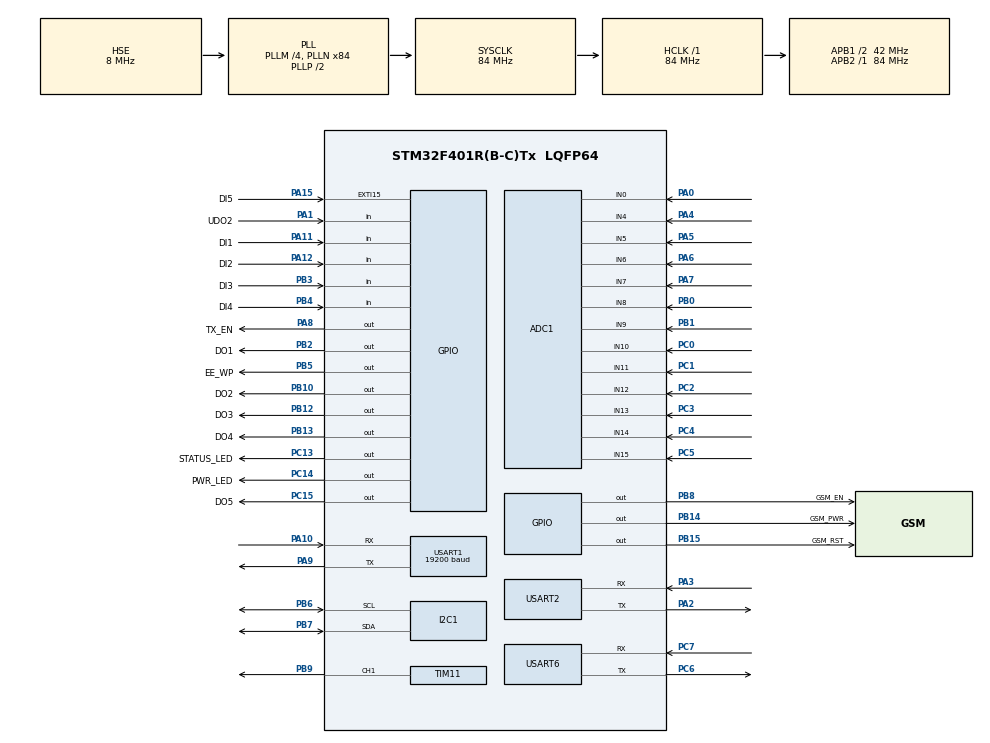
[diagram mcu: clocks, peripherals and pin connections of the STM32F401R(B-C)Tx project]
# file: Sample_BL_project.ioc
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ADC1.Channel-0\#ChannelRegularConversion=ADC_CHANNEL_0
ADC1.Channel-1\#ChannelRegularConversion=ADC_CHANNEL_4
ADC1.Channel-10\#ChannelRegularConversion=ADC_CHANNEL_13
ADC1.Channel-11\#ChannelRegularConversion=ADC_CHANNEL_14
ADC1.Channel-12\#ChannelRegularConversion=ADC_CHANNEL_15
ADC1.Channel-2\#ChannelRegularConversion=ADC_CHANNEL_5
ADC1.Channel-3\#ChannelRegularConversion=ADC_CHANNEL_6
ADC1.Channel-4\#ChannelRegularConversion=ADC_CHANNEL_7
ADC1.Channel-5\#ChannelRegularConversion=ADC_CHANNEL_8
ADC1.Channel-6\#ChannelRegularConversion=ADC_CHANNEL_9
ADC1.Channel-7\#ChannelRegularConversion=ADC_CHANNEL_10
ADC1.Channel-8\#ChannelRegularConversion=ADC_CHANNEL_11
ADC1.Channel-9\#ChannelRegularConversion=ADC_CHANNEL_12
ADC1.ClockPrescaler=ADC_CLOCK_SYNC_PCLK_DIV8
ADC1.ContinuousConvMode=ENABLE
ADC1.DMAContinuousRequests=ENABLE
ADC1.NbrOfConversion=13
ADC1.NbrOfConversionFlag=1
ADC1.Rank-0\#ChannelRegularConversion=1
ADC1.Rank-1\#ChannelRegularConversion=2
ADC1.Rank-10\#ChannelRegularConversion=11
ADC1.Rank-11\#ChannelRegularConversion=12
ADC1.Rank-12\#ChannelRegularConversion=13
ADC1.Rank-2\#ChannelRegularConversion=3
ADC1.Rank-3\#ChannelRegularConversion=4
ADC1.Rank-4\#ChannelRegularConversion=5
ADC1.Rank-5\#ChannelRegularConversion=6
ADC1.Rank-6\#ChannelRegularConversion=7
ADC1.Rank-7\#ChannelRegularConversion=8
ADC1.Rank-8\#ChannelRegularConversion=9
ADC1.Rank-9\#ChannelRegularConversion=10
ADC1.SamplingTime-0\#ChannelRegularConversion=ADC_SAMPLETIME_56CYCLES
ADC1.SamplingTime-1\#ChannelRegularConversion=ADC_SAMPLETIME_56CYCLES
ADC1.SamplingTime-10\#ChannelRegularConversion=ADC_SAMPLETIME_84CYCLES
ADC1.SamplingTime-11\#ChannelRegularConversion=ADC_SAMPLETIME_84CYCLES
ADC1.SamplingTime-12\#ChannelRegularConversion=ADC_SAMPLETIME_84CYCLES
ADC1.SamplingTime-2\#ChannelRegularConversion=ADC_SAMPLETIME_56CYCLES
ADC1.SamplingTime-3\#ChannelRegularConversion=ADC_SAMPLETIME_56CYCLES
ADC1.SamplingTime-4\#ChannelRegularConversion=ADC_SAMPLETIME_84CYCLES
ADC1.SamplingTime-5\#ChannelRegularConversion=ADC_SAMPLETIME_84CYCLES
ADC1.SamplingTime-6\#ChannelRegularConversion=ADC_SAMPLETIME_84CYCLES
ADC1.SamplingTime-7\#ChannelRegularConversion=ADC_SAMPLETIME_84CYCLES
ADC1.SamplingTime-8\#ChannelRegularConversion=ADC_SAMPLETIME_84CYCLES
ADC1.SamplingTime-9\#ChannelRegularConversion=ADC_SAMPLETIME_84CYCLES
ADC1.ScanConvMode=ENABLE
ADC1.master=1
Dma.ADC1.0.Direction=DMA_PERIPH_TO_MEMORY
Dma.ADC1.0.FIFOMode=DMA_FIFOMODE_DISABLE
Dma.ADC1.0.Instance=DMA2_Stream0
Dma.ADC1.0.MemDataAlignment=DMA_MDATAALIGN_HALFWORD
Dma.ADC1.0.MemInc=DMA_MINC_ENABLE
Dma.ADC1.0.Mode=DMA_CIRCULAR
Dma.ADC1.0.PeriphDataAlignment=DMA_PDATAALIGN_HALFWORD
Dma.ADC1.0.PeriphInc=DMA_PINC_DISABLE
Dma.ADC1.0.Priority=DMA_PRIORITY_LOW
Dma.Request0=ADC1
I2C1.I2C_Mode=I2C_Fast
IWDG.Prescaler=IWDG_PRESCALER_64
IWDG.Reload=2500
Mcu.Family=STM32F4
Mcu.Name=STM32F401R(B-C)Tx
Mcu.Package=LQFP64
NVIC.DMA2_Stream0_IRQn=true\:0\:0\:false\:false\:true\:false\:true\:true
NVIC.EXTI15_10_IRQn=true\:0\:0\:false\:false\:true\:true\:true\:true
NVIC.PriorityGroup=NVIC_PRIORITYGROUP_4
NVIC.TIM1_BRK_TIM9_IRQn=true\:0\:0\:false\:false\:true\:true\:true\:true
NVIC.TIM1_UP_TIM10_IRQn=true\:0\:0\:false\:false\:true\:true\:true\:true
NVIC.USART2_IRQn=true\:0\:0\:false\:false\:true\:true\:true\:true
PA0-WKUP.Signal=ADCx_IN0
PA1.GPIO_Label=UDO2
PA1.Signal=GPIO_Input
PA10.Mode=Asynchronous
PA10.Signal=USART1_RX
PA11.GPIO_Label=DI1
PA11.Signal=GPIO_Input
PA12.GPIO_Label=DI2
PA12.Signal=GPIO_Input
PA13.Mode=Serial_Wire
PA13.Signal=SYS_JTMS-SWDIO
PA14.Mode=Serial_Wire
PA14.Signal=SYS_JTCK-SWCLK
PA15.GPIO_Label=DI5
PA15.GPIO_ModeDefaultEXTI=GPIO_MODE_IT_RISING
PA15.GPIO_PuPd=GPIO_PULLUP
PA15.Signal=GPXTI15
PA2.Mode=Asynchronous
PA2.Signal=USART2_TX
PA3.Mode=Asynchronous
PA3.Signal=USART2_RX
PA4.Signal=ADCx_IN4
PA5.Signal=ADCx_IN5
PA6.Signal=ADCx_IN6
PA7.Signal=ADCx_IN7
PA8.GPIO_Label=TX_EN
PA8.Signal=GPIO_Output
PA9.Mode=Asynchronous
PA9.Signal=USART1_TX
PB0.Signal=ADCx_IN8
PB1.Signal=ADCx_IN9
PB10.GPIO_Label=DO2
PB10.Signal=GPIO_Output
PB12.GPIO_Label=DO3
PB12.Signal=GPIO_Output
PB13.GPIO_Label=DO4
PB13.Signal=GPIO_Output
PB14.GPIO_Label=GSM_PWR
PB14.Signal=GPIO_Output
PB15.GPIO_Label=GSM_RST
PB15.Signal=GPIO_Output
PB2.GPIO_Label=DO1
PB2.Signal=GPIO_Output
PB3.GPIO_Label=DI3
PB3.Signal=GPIO_Input
PB4.GPIO_Label=DI4
PB4.Signal=GPIO_Input
PB5.GPIO_Label=EE_WP
PB5.Signal=GPIO_Output
PB6.Mode=I2C
PB6.Signal=I2C1_SCL
PB7.Mode=I2C
PB7.Signal=I2C1_SDA
PB8.GPIO_Label=GSM_EN
PB8.Signal=GPIO_Output
PB9.Signal=S_TIM11_CH1
PC0.Signal=ADCx_IN10
PC1.Signal=ADCx_IN11
PC13-ANTI_TAMP.GPIO_Label=STATUS_LED
PC13-ANTI_TAMP.Signal=GPIO_Output
PC14-OSC32_IN.GPIO_Label=PWR_LED
PC14-OSC32_IN.Signal=GPIO_Output
PC15-OSC32_OUT.GPIO_Label=DO5
PC15-OSC32_OUT.Signal=GPIO_Output
PC2.Signal=ADCx_IN12
PC3.Signal=ADCx_IN13
PC4.Signal=ADCx_IN14
PC5.Signal=ADCx_IN15
PC6.Mode=Asynchronous
PC6.Signal=USART6_TX
PC7.Mode=Asynchronous
PC7.Signal=USART6_RX
PH0\ -\ OSC_IN.Mode=HSE-External-Oscillator
PH0\ -\ OSC_IN.Signal=RCC_OSC_IN
PH1\ -\ OSC_OUT.Mode=HSE-External-Oscillator
PH1\ -\ OSC_OUT.Signal=RCC_OSC_OUT
ProjectManager.HeapSize=0x200
ProjectManager.StackSize=0x400
ProjectManager.TargetToolchain=STM32CubeIDE
RCC.48MHZClocksFreq_Value=42000000
RCC.AHBFreq_Value=84000000
RCC.APB1CLKDivider=RCC_HCLK_DIV2
RCC.APB1Freq_Value=42000000
RCC.APB1TimFreq_Value=84000000
RCC.APB2Freq_Value=84000000
RCC.APB2TimFreq_Value=84000000
RCC.CortexFreq_Value=84000000
RCC.HCLKFreq_Value=84000000
RCC.HSE_VALUE=8000000
RCC.HSI_VALUE=16000000
RCC.LSE_VALUE=32768
RCC.PLLM=4
RCC.PLLN=84
RCC.PLLSourceVirtual=RCC_PLLSOURCE_HSE
RCC.SYSCLKFreq_VALUE=84000000
RCC.SYSCLKSource=RCC_SYSCLKSOURCE_PLLCLK
RCC.VCOOutputFreq_Value=168000000
RTC.Alarm=RTC_ALARM_A
RTC.AlarmMaskDateWeekDay=RTC_ALARMMASK_DATEWEEKDAY
RTC.AlarmMaskHours=RTC_ALARMMASK_HOURS
RTC.AlarmMaskSeconds=RTC_ALARMMASK_SECONDS
RTC.Format=RTC_FORMAT_BIN
SH.ADCx_IN0.0=ADC1_IN0,IN0
SH.ADCx_IN10.0=ADC1_IN10,IN10
SH.ADCx_IN11.0=ADC1_IN11,IN11
SH.ADCx_IN12.0=ADC1_IN12,IN12
SH.ADCx_IN13.0=ADC1_IN13,IN13
SH.ADCx_IN14.0=ADC1_IN14,IN14
SH.ADCx_IN15.0=ADC1_IN15,IN15
SH.ADCx_IN4.0=ADC1_IN4,IN4
SH.ADCx_IN5.0=ADC1_IN5,IN5
SH.ADCx_IN6.0=ADC1_IN6,IN6
SH.ADCx_IN7.0=ADC1_IN7,IN7
SH.ADCx_IN8.0=ADC1_IN8,IN8
SH.ADCx_IN9.0=ADC1_IN9,IN9
SH.S_TIM11_CH1.0=TIM11_CH1,PWM Generation1 CH1
TIM10.Channel=TIM_CHANNEL_1
TIM10.Period=500 - 1
TIM10.Prescaler=84 - 1
TIM11.Channel=TIM_CHANNEL_1
TIM11.Period=4199
TIM9.Channel-Output\ Compare1\ No\ Output=TIM_CHANNEL_1
TIM9.Period=10000 - 1
TIM9.Prescaler=8400 - 1
USART1.BaudRate=19200
USART1.VirtualMode=VM_ASYNC
USART2.VirtualMode=VM_ASYNC
USART6.VirtualMode=VM_ASYNC
VP_IWDG_VS_IWDG.Mode=IWDG_Activate
VP_RTC_VS_RTC_Activate.Mode=RTC_Enabled
VP_RTC_VS_RTC_Alarm_A_Intern.Mode=Alarm A
VP_RTC_VS_RTC_Calendar.Mode=RTC_Calendar
VP_TIM10_VS_ClockSourceINT.Mode=Enable_Timer
VP_TIM10_VS_no_output1.Mode=Output Compare1 No Output
VP_TIM11_VS_ClockSourceINT.Mode=Enable_Timer
VP_TIM9_VS_no_output1.Mode=Output Compare1 No Output
board=custom

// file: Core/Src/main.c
/* USER CODE BEGIN Header */
/**
  ******************************************************************************
  * @file           : main.c
  * @brief          : Main program body
  ******************************************************************************
  * @attention
  *
  * Copyright (c) 2024 STMicroelectronics.
  * All rights reserved.
  *
  * This software is licensed under terms that can be found in the LICENSE file
  * in the root directory of this software component.
  * If no LICENSE file comes with this software, it is provided AS-IS.
  *
  ******************************************************************************
  */
/* USER CODE END Header */
#include "main.h"
#include "adc.h"
#include "dma.h"
#include "i2c.h"
#include "iwdg.h"
#include "rtc.h"
#include "tim.h"
#include "usart.h"
#include "gpio.h"

/* USER CODE BEGIN Includes */
#include "stdarg.h"
#include "stdint.h"
#include "stdbool.h"
#include "app_IOT_AT.h"
/* USER CODE END Includes */

/* USER CODE BEGIN PTD */
iotParam_Typedef iot;
recdCPointsTypedef recdcp;
/* USER CODE END PTD */

/* USER CODE BEGIN PM */
#define AT_CMD_EN	1

#define SET_BL_DATA	0
/* USER CODE END PM */

void SystemClock_Config(void);
/* USER CODE BEGIN PFP */
void print(const char *fmt, ...) {
	static char buffer[256];
	va_list args;
	va_start(args, fmt);
	vsnprintf(buffer, sizeof(buffer), fmt, args);
	va_end(args);

	uint16_t len = strlen(buffer);
	HAL_UART_Transmit(&huart2, buffer, len, 500);
}
/* USER CODE END PFP */

int main(void)
{

  /* MCU Configuration--------------------------------------------------------*/

  /* Reset of all peripherals, Initializes the Flash interface and the Systick. */
  HAL_Init();

  /* Configure the system clock */
  SystemClock_Config();

  /* Initialize all configured peripherals */
  MX_GPIO_Init();
  MX_DMA_Init();
  MX_ADC1_Init();
  MX_I2C1_Init();
  MX_TIM11_Init();
  MX_USART2_UART_Init();
  MX_USART1_UART_Init();
  MX_USART6_UART_Init();
  MX_TIM10_Init();
  MX_IWDG_Init();
  MX_TIM9_Init();
  MX_RTC_Init();
  /* USER CODE BEGIN 2 */
  __HAL_DBGMCU_FREEZE_IWDG();
  print("Working Project 2\r\n");
  HAL_GPIO_WritePin(PWR_LED_GPIO_Port, PWR_LED_Pin, SET);
  HAL_GPIO_WritePin(STATUS_LED_GPIO_Port, STATUS_LED_Pin, SET);

#if SET_BL_DATA
  ee_setBLFileName("Project1.bin", 12);
  ee_setBLUpdateStatus(1);
#endif

	if (AT_CMD_EN) {
		UART_AT_IT_EN();
	}
  configIOTParameters(&iot);
  configRECDConstantPointSets(&recdcp);
  /* USER CODE END 2 */

  /* Infinite loop */
  /* USER CODE BEGIN WHILE */
  while (1)
  {
		if (IOT_AT_REC_FLAG) {
			iotATHandler(&IOT_AT_DATA, &iot, &recdcp);
		}
		HAL_GPIO_TogglePin(STATUS_LED_GPIO_Port, STATUS_LED_Pin);
		HAL_GPIO_TogglePin(PWR_LED_GPIO_Port, PWR_LED_Pin);
		HAL_IWDG_Refresh(&hiwdg);
		HAL_Delay(500);
    /* USER CODE END WHILE */

  }
}

void SystemClock_Config(void)
{
  RCC_OscInitTypeDef RCC_OscInitStruct = {0};
  RCC_ClkInitTypeDef RCC_ClkInitStruct = {0};

  /** Configure the main internal regulator output voltage
  */
  __HAL_RCC_PWR_CLK_ENABLE();
  __HAL_PWR_VOLTAGESCALING_CONFIG(PWR_REGULATOR_VOLTAGE_SCALE2);

  /** Initializes the RCC Oscillators according to the specified parameters
  * in the RCC_OscInitTypeDef structure.
  */
  RCC_OscInitStruct.OscillatorType = RCC_OSCILLATORTYPE_LSI|RCC_OSCILLATORTYPE_HSE;
  RCC_OscInitStruct.HSEState = RCC_HSE_ON;
  RCC_OscInitStruct.LSIState = RCC_LSI_ON;
  RCC_OscInitStruct.PLL.PLLState = RCC_PLL_ON;
  RCC_OscInitStruct.PLL.PLLSource = RCC_PLLSOURCE_HSE;
  RCC_OscInitStruct.PLL.PLLM = 4;
  RCC_OscInitStruct.PLL.PLLN = 84;
  RCC_OscInitStruct.PLL.PLLP = RCC_PLLP_DIV2;
  RCC_OscInitStruct.PLL.PLLQ = 4;
  if (HAL_RCC_OscConfig(&RCC_OscInitStruct) != HAL_OK)
  {
    Error_Handler();
  }

  /** Initializes the CPU, AHB and APB buses clocks
  */
  RCC_ClkInitStruct.ClockType = RCC_CLOCKTYPE_HCLK|RCC_CLOCKTYPE_SYSCLK
                              |RCC_CLOCKTYPE_PCLK1|RCC_CLOCKTYPE_PCLK2;
  RCC_ClkInitStruct.SYSCLKSource = RCC_SYSCLKSOURCE_PLLCLK;
  RCC_ClkInitStruct.AHBCLKDivider = RCC_SYSCLK_DIV1;
  RCC_ClkInitStruct.APB1CLKDivider = RCC_HCLK_DIV2;
  RCC_ClkInitStruct.APB2CLKDivider = RCC_HCLK_DIV1;

  if (HAL_RCC_ClockConfig(&RCC_ClkInitStruct, FLASH_LATENCY_2) != HAL_OK)
  {
    Error_Handler();
  }
}

void Error_Handler(void)
{
  __disable_irq();
  while (1)
  {
  }
}
